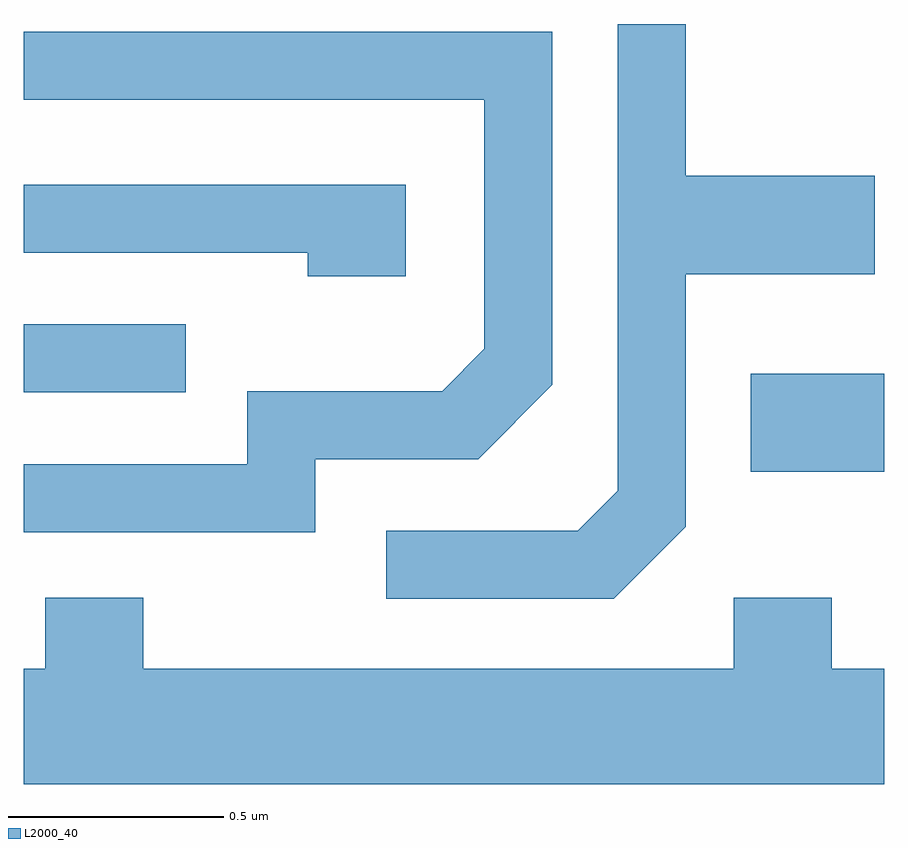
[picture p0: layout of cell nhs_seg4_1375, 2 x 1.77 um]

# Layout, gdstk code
import gdstk
lib = gdstk.Library(unit=1e-6, precision=1e-09)
def R(c, l, rs):  # rectangles x0, y0, x1, y1
    for r in rs: c.add(gdstk.rectangle(r[:2], r[2:], *l))
def P(c, l, *ps):  # polygons
    for p in ps: c.add(gdstk.Polygon(p, *l))
L2000_40 = (2000, 40)

nhs_seg4_1375 = lib.new_cell('nhs_seg4_1375')
R(nhs_seg4_1375, L2000_40, [(197.301,1259.941,197.611,1260.169), (195.611,1260.126,195.988,1260.284)])
P(nhs_seg4_1375, L2000_40, [(197.149,1259.814),(197.149,1260.401),(197.589,1260.401),(197.589,1260.629),(197.149,1260.629),(197.149,1260.982),(196.991,1260.982),(196.991,1259.897),(196.899,1259.804),(196.453,1259.804),(196.453,1259.646),(196.982,1259.646)],
  [(196.289,1259.971),(196.667,1259.971),(196.839,1260.144),(196.839,1260.964),(195.611,1260.964),(195.611,1260.806),(196.681,1260.806),(196.681,1260.227),(196.584,1260.129),(196.131,1260.129),(196.131,1259.959),(195.611,1259.959),(195.611,1259.801),(196.289,1259.801)],
  [(196.499,1260.609),(195.611,1260.609),(195.611,1260.451),(196.271,1260.451),(196.271,1260.396),(196.499,1260.396)],
  [(197.611,1259.484),(197.489,1259.484),(197.489,1259.649),(197.261,1259.649),(197.261,1259.484),(195.889,1259.484),(195.889,1259.649),(195.661,1259.649),(195.661,1259.484),(195.611,1259.484),(195.611,1259.216),(197.611,1259.216)])

lib.write_gds('nhs_seg4_1375.gds')
